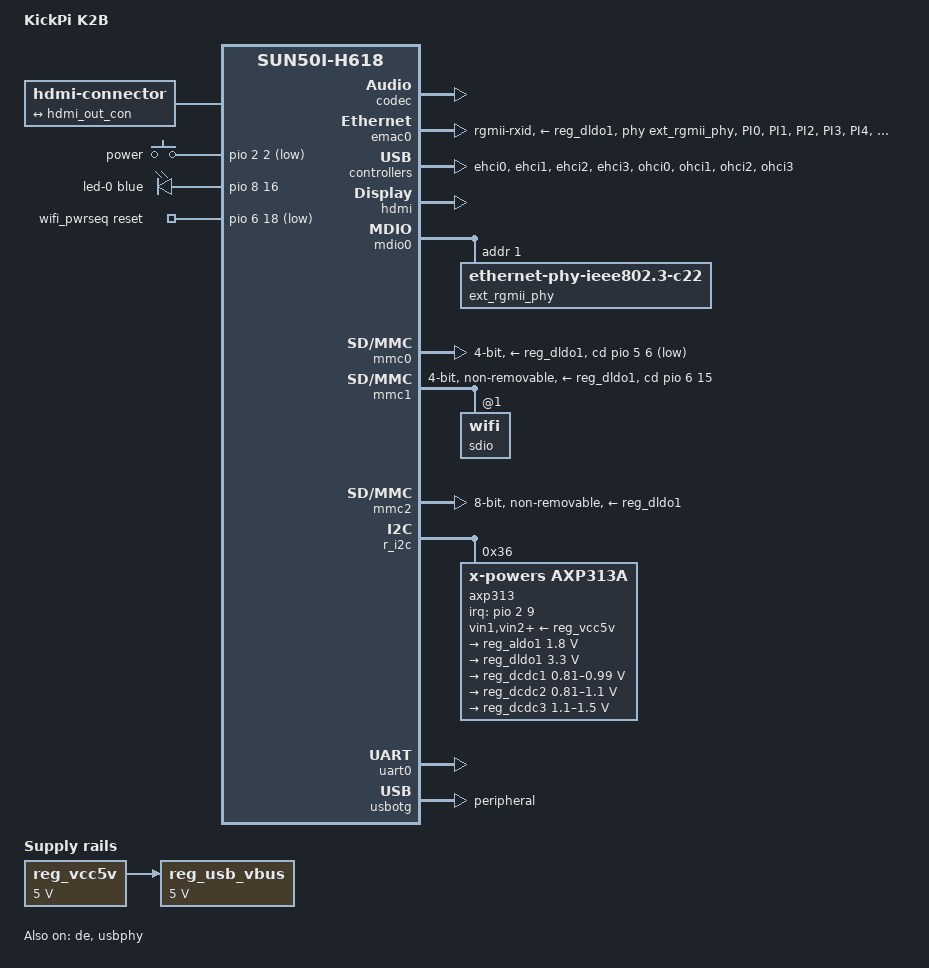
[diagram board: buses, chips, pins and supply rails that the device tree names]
// SPDX-License-Identifier: (GPL-2.0+ OR MIT)
/*
 * Copyright (C) 2025 Patrick Yavitz <pyavitz@gmail.com>
 */

/dts-v1/;

#include "sun50i-h616.dtsi"
#include "sun50i-h616-cpu-opp.dtsi"

#include <dt-bindings/gpio/gpio.h>
#include <dt-bindings/interrupt-controller/arm-gic.h>
#include <dt-bindings/input/linux-event-codes.h>
#include <dt-bindings/leds/common.h>

/ {
	model = "KickPi K2B";
	compatible = "kickpi,k2b", "allwinner,sun50i-h618";

	aliases {
		ethernet0 = &emac0;
		serial0 = &uart0;
		serial1 = &uart1;
		serial5 = &uart5;
	};

	chosen {
		stdout-path = "serial0:115200n8";
	};

	connector {
		compatible = "hdmi-connector";
		type = "d";

		port {
			hdmi_con_in: endpoint {
				remote-endpoint = <&hdmi_out_con>;
			};
		};
	};

	gpio-keys-polled {
		compatible = "gpio-keys-polled";
		poll-interval = <100>;

		button-power {
			label = "power";
			linux,code = <KEY_POWER>;
			gpios = <&pio 2 2 GPIO_ACTIVE_LOW>; /* PC7 */
		};
	};

	leds {
		compatible = "gpio-leds";

		led-0 {
			color = <LED_COLOR_ID_BLUE>;
			function = LED_FUNCTION_STATUS;
			gpios = <&pio 8 16 GPIO_ACTIVE_HIGH>; /* PI6 */
			linux,default-trigger = "heartbeat";
		};
	};

	reg_usb_vbus: regulator-usb-vbus {
		/* Separate discrete regulator for the USB ports */
		compatible = "regulator-fixed";
		regulator-min-microvolt = <5000000>;
		regulator-max-microvolt = <5000000>;
		regulator-name = "usb-vbus";
		vin-supply = <&reg_vcc5v>;
	};

	reg_vcc5v: regulator-vcc5v {
		/* Board wide 5V supply directly from the USB-C socket */
		compatible = "regulator-fixed";
		regulator-always-on;
		regulator-min-microvolt = <5000000>;
		regulator-max-microvolt = <5000000>;
		regulator-name = "vcc-5v";
	};

	wifi_pwrseq: wifi-pwrseq {
		compatible = "mmc-pwrseq-simple";
		clocks = <&rtc CLK_OSC32K_FANOUT>;
		clock-names = "ext_clock";
		pinctrl-0 = <&x32clk_fanout_pin>;
		pinctrl-names = "default";
		post-power-on-delay-ms = <200>;
		reset-gpios = <&pio 6 18 GPIO_ACTIVE_LOW>; /* PG18 */
	};
};

&codec {
	status = "okay";
	allwinner,audio-routing = "Line Out", "LINEOUT";
};

&cpu0 {
	cpu-supply = <&reg_dcdc2>;
};

&de {
	status = "okay";
};

&emac0 {
	status = "okay";
        pinctrl-0 = <&ext_rgmii_pins>;
	pinctrl-names = "default";
	phy-mode = "rgmii-rxid";
	phy-handle = <&ext_rgmii_phy>;
	phy-supply = <&reg_dldo1>;
	allwinner,tx-delay-ps = <500>;
};

&ehci0 {
	status = "okay";
};

&ehci1 {
	status = "okay";
};

&ehci2 {
	status = "okay";
};

&ehci3 {
	status = "okay";
};

&gpu {
	status = "disabled";
	mali-supply = <&reg_dcdc1>;
};

&hdmi {
	status = "okay";
};

&hdmi_out {
	hdmi_out_con: endpoint {
		remote-endpoint = <&hdmi_con_in>;
	};
};

&ir {
	status = "disabled";
	pinctrl-0 = <&ir_rx_pin>;
	pinctrl-names = "default";
};

&mdio0 {
	ext_rgmii_phy: ethernet-phy@1 {
		compatible = "ethernet-phy-ieee802.3-c22";
		reg = <1>;
	};
};

/* SD card */
&mmc0 {
	status = "okay";
	bus-width = <4>;

	/delete-property/ cap-sd-highspeed;
	/delete-property/ cap-mmc-highspeed;

	cd-gpios = <&pio 5 6 GPIO_ACTIVE_HIGH>;	/* PF6 */
	cd-inverted;

	vmmc-supply = <&reg_dldo1>;
	vqmmc-supply = <&reg_aldo1>;
};

/* SDIO */
&mmc1 {
	status = "okay";
	bus-width = <4>;

	non-removable;

	/delete-property/ cap-sd-highspeed;
	/delete-property/ cap-mmc-highspeed;

	/* WiFi firmware requires power to be kept while in suspend */
	keep-power-in-suspend;

	mmc-pwrseq = <&wifi_pwrseq>;

	cd-gpios = <&pio 6 15 GPIO_ACTIVE_HIGH>; /* PG15 */

	vmmc-supply = <&reg_dldo1>;
	vqmmc-supply = <&reg_aldo1>;

	sdio: wifi@1 {
		reg = <1>;
	};
};

/* eMMC */
&mmc2 {
	status = "okay";
	bus-width = <8>;
	cap-mmc-hw-reset;
	mmc-hs200-1_8v;

	non-removable;

	/delete-property/ cap-sd-highspeed;
	/delete-property/ cap-mmc-highspeed;

	vmmc-supply = <&reg_dldo1>;
	vqmmc-supply = <&reg_aldo1>;
};

&ohci0 {
	status = "okay";
};

&ohci1 {
	status = "okay";
};

&ohci2 {
	status = "okay";
};

&ohci3 {
	status = "okay";
};

&pio {
	vcc-pc-supply = <&reg_dldo1>;
	vcc-pf-supply = <&reg_dldo1>;
	vcc-pg-supply = <&reg_aldo1>;
	vcc-ph-supply = <&reg_dldo1>;
	vcc-pi-supply = <&reg_dldo1>;
	vcc-pl-supply = <&reg_aldo1>;

	// PI16 required for sys_led
	ext_rgmii_pins: rgmii-pins {
		pins = "PI0", "PI1", "PI2", "PI3", "PI4",
		       "PI5", "PI7", "PI8", "PI9", "PI10",
		       "PI11", "PI12", "PI13", "PI14", "PI15";
		function = "emac0";
		drive-strength = <40>;
	};

	// PC0 required for &spi0
	mmc2_pins: mmc2-pins {
		pins = "PC1", "PC5", "PC6",
		       "PC8", "PC9", "PC10", "PC11",
		       "PC13", "PC14", "PC15", "PC16";
		function = "mmc2";
		drive-strength = <30>;
		bias-pull-up;
	};
};

&r_i2c {
	status = "okay";

	axp313: pmic@36 {
		compatible = "x-powers,axp313a";
		reg = <0x36>;
		#interrupt-cells = <1>;
		interrupt-controller;
		interrupt-parent = <&pio>;
		interrupts = <2 9 IRQ_TYPE_LEVEL_LOW>;	/* PC9 */

		vin1-supply = <&reg_vcc5v>;
		vin2-supply = <&reg_vcc5v>;
		vin3-supply = <&reg_vcc5v>;

		regulators {
			/* Supplies VCC-PLL, so needs to be always on. */
			reg_aldo1: aldo1 {
				regulator-always-on;
				regulator-min-microvolt = <1800000>;
				regulator-max-microvolt = <1800000>;
				regulator-name = "vcc1v8";
			};

			/* Supplies VCC-IO, so needs to be always on. */
			reg_dldo1: dldo1 {
				regulator-always-on;
				regulator-min-microvolt = <3300000>;
				regulator-max-microvolt = <3300000>;
				regulator-name = "vcc3v3";
			};

			reg_dcdc1: dcdc1 {
				regulator-always-on;
				regulator-min-microvolt = <810000>;
				regulator-max-microvolt = <990000>;
				regulator-name = "vdd-gpu-sys";
			};

			reg_dcdc2: dcdc2 {
				regulator-always-on;
				regulator-min-microvolt = <810000>;
				regulator-max-microvolt = <1100000>;
				regulator-name = "vdd-cpu";
			};

			reg_dcdc3: dcdc3 {
				regulator-always-on;
				regulator-min-microvolt = <1100000>;
				regulator-max-microvolt = <1500000>;
				regulator-name = "vdd-dram";
			};
		};
	};
};

&spi0  {
	status = "disabled";
	pinctrl-0 = <&spi0_pins>, <&spi0_cs0_pin>;
	pinctrl-names = "default";

	flash@0 {
		#address-cells = <1>;
		#size-cells = <1>;
		compatible = "jedec,spi-nor";
		reg = <0>;
		spi-max-frequency = <40000000>;
	};
};

&spi1 {
	status = "disabled";
	pinctrl-0 = <&spi1_pins>, <&spi1_cs1_pin>;
	pinctrl-names = "default";

	spidev@1 {
		compatible = "rohm,dh2228fv";
		reg = <1>;
		spi-max-frequency = <1000000>;
	};
};

&uart0 {
	status = "okay";
	pinctrl-names = "default";
	pinctrl-0 = <&uart0_ph_pins>;
};

&uart1 {
	status = "disabled";
	pinctrl-0 = <&uart1_pins>, <&uart1_rts_cts_pins>;
	pinctrl-names = "default";
	uart-has-rtscts;
};

&uart5 {
	status = "disabled";
	pinctrl-names = "default";
	pinctrl-0 = <&uart5_ph_pins>;
};

&usbotg {
	status = "okay";
	dr_mode = "peripheral";
};

&usbphy {
	status = "okay";
	usb1_vbus-supply = <&reg_usb_vbus>;
};
